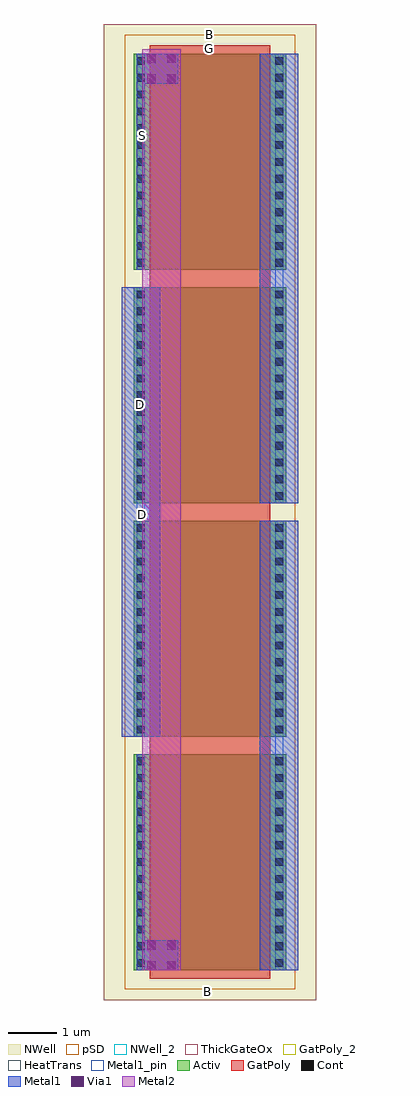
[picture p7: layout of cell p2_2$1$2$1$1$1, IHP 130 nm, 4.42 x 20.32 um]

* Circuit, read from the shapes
.subckt p2_2$1$2$1$1$1 B D G S
XM1 n1 G S B sg13_hv_pmos w=4.5u l=2.5u
XM2 n1 G D B sg13_hv_pmos w=4.5u l=2.5u
XM3 n2 G D B sg13_hv_pmos w=4.5u l=2.5u
XM4 n2 G S B sg13_hv_pmos w=4.5u l=2.5u
.ends

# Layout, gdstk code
from math import pi, radians
import gdstk
lib = gdstk.Library(unit=1e-6, precision=1e-09)
def R(c, l, rs):  # rectangles x0, y0, x1, y1
    for r in rs: c.add(gdstk.rectangle(r[:2], r[2:], *l))
def A(c, l, x, y, w, h, nx, ny, dx, dy):  # array of equal rectangles
    R(c, l, [(x+i*dx, y+j*dy, x+i*dx+w, y+j*dy+h) for i in range(nx) for j in range(ny)])
Activ = (1, 0)
GatPoly = (5, 0)
GatPoly_2 = (5, 2)
Cont = (6, 0)
Metal1 = (8, 0)
Metal1_pin = (8, 2)
Metal2 = (10, 0)
pSD = (14, 0)
Via1 = (19, 0)
NWell = (31, 0)
NWell_2 = (31, 2)
ThickGateOx = (44, 0)
HeatTrans = (51, 0)

pmoshv = lib.new_cell('pmosHV')
R(pmoshv, Activ, [(0,0,0.3,0.3), (0,0,3.18,4.5), (2.88,0,3.18,0.3)])
R(pmoshv, GatPoly, [(0.34,-0.18,2.84,4.68)])
R(pmoshv, GatPoly_2, [(0.34,-0.18,2.84,4.68)])
A(pmoshv, Cont, 0.07, 0.07, 0.16, 0.16, 1, 13, 0, 0.35)
A(pmoshv, Cont, 2.95, 0.07, 0.16, 0.16, 1, 13, 0, 0.35)
R(pmoshv, Metal1, [(0.07,0,0.23,4.5), (2.95,0,3.11,4.5)])
R(pmoshv, Metal1_pin, [(0.07,0,0.23,4.5), (2.95,0,3.11,4.5)])
R(pmoshv, pSD, [(-0.18,-0.4,3.36,4.9)])
R(pmoshv, NWell, [(-0.62,-0.62,3.8,5.12)])
R(pmoshv, ThickGateOx, [(-0.62,-0.62,3.8,5.12)])
R(pmoshv, HeatTrans, [(0.34,-0.18,2.84,4.68)])
pmoshv.add(gdstk.Label('pmosHV', (1.59,2.25), layer=63, texttype=0))
pmoshv.add(gdstk.Label('pmos', (1.59,2.25), layer=51, texttype=0))

via_stack_2 = lib.new_cell('via_stack$2')
R(via_stack_2, Metal1, [(-0.35,-0.31,0.35,0.31)])
R(via_stack_2, Metal2, [(-0.35,-0.305,0.35,0.305)])
R(via_stack_2, Via1, [(-0.3,-0.3,-0.11,-0.11), (0.11,-0.3,0.3,-0.11), (-0.3,0.11,-0.11,0.3), (0.11,0.11,0.3,0.3)])

p2_2_1_2_1_1_1 = lib.new_cell('p2_2$1$2$1$1$1')
R(p2_2_1_2_1_1_1, Metal1, [(3.57,5.08,3.73,5.48), (0.69,9.98,0.85,10.34), (3.57,14.84,3.73,15.24)])
R(p2_2_1_2_1_1_1, Metal1_pin, [(3.57,5.12,3.73,5.48), (0.69,9.98,0.85,10.34), (3.57,14.84,3.73,15.2), (0.69,15.2,0.85,19.7)])
A(p2_2_1_2_1_1_1, NWell_2, 0, 0, 4.42, 5.74, 1, 4, 0, 4.86)
p2_2_1_2_1_1_1.add(gdstk.FlexPath([(3.65,19.7),(3.65,10.34)], 0.8, ends="flush", simple_path=True, layer=8, datatype=0))  # Metal1
p2_2_1_2_1_1_1.add(gdstk.FlexPath([(3.65,9.98),(3.65,0.62)], 0.8, ends="flush", simple_path=True, layer=8, datatype=0))  # Metal1
p2_2_1_2_1_1_1.add(gdstk.FlexPath([(0.77,5.48),(0.77,14.84)], 0.8, ends="flush", simple_path=True, layer=8, datatype=0))  # Metal1
p2_2_1_2_1_1_1.add(gdstk.FlexPath([(1.2,19.79),(1.2,0.62)], 0.8, ends="flush", simple_path=True, layer=10, datatype=0))  # Metal2
p2_2_1_2_1_1_1.add(gdstk.Reference(pmoshv, (0.62,5.12), x_reflection=True))
p2_2_1_2_1_1_1.add(gdstk.Reference(via_stack_2, (1.2,19.39)))
p2_2_1_2_1_1_1.add(gdstk.Reference(pmoshv, (3.8,10.34), rotation=pi, x_reflection=True))
p2_2_1_2_1_1_1.add(gdstk.Reference(via_stack_2, (1.2,0.93)))
p2_2_1_2_1_1_1.add(gdstk.Reference(pmoshv, (3.8,9.98), rotation=pi))
p2_2_1_2_1_1_1.add(gdstk.Reference(pmoshv, (0.62,15.2)))
p2_2_1_2_1_1_1.add(gdstk.Label('D', (0.77,12.4), layer=8, texttype=2))
p2_2_1_2_1_1_1.add(gdstk.Label('S', (0.8,18), layer=63, texttype=0))
p2_2_1_2_1_1_1.add(gdstk.Label('D', (0.8,10.1), layer=63, texttype=0))
p2_2_1_2_1_1_1.add(gdstk.Label('G', (2.2,19.8), layer=63, texttype=0))
p2_2_1_2_1_1_1.add(gdstk.Label('B', (2.2,20.1), layer=63, texttype=0))
p2_2_1_2_1_1_1.add(gdstk.Label('G', (2.2,19.8), layer=5, texttype=2))
p2_2_1_2_1_1_1.add(gdstk.Label('B', (2.2,20.1), layer=31, texttype=2))
p2_2_1_2_1_1_1.add(gdstk.Label('B', (2.16,0.17), layer=31, texttype=2))
p2_2_1_2_1_1_1.add(gdstk.Label('S', (0.8,18), layer=8, texttype=25))
p2_2_1_2_1_1_1.add(gdstk.Label('D', (0.8,10.1), layer=8, texttype=25))

lib.write_gds('p2_2_1_2_1_1_1.gds')
